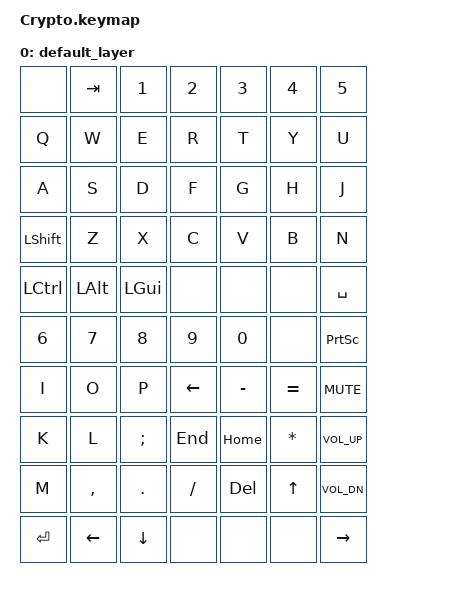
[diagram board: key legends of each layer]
#include <behaviors.dtsi>
#include <dt-bindings/zmk/keys.h>
#include <dt-bindings/zmk/bt.h>

/ {
    keymap {
        compatible = "zmk,keymap";
        default_layer {
            bindings = <
/* --- LEFT SIDE (35 keys) --- */
   &none     &kp TAB   &kp N1    &kp N2    &kp N3    &kp N4    &kp N5    
   &kp Q     &kp W     &kp E     &kp R     &kp T     &kp Y     &kp U     
   &kp A     &kp S     &kp D     &kp F     &kp G     &kp H     &kp J     
   &kp LSHFT &kp Z     &kp X     &kp C     &kp V     &kp B     &kp N     
   &kp LCTRL &kp LALT  &kp LGUI  &none     &none     &none     &kp SPACE 

/* --- RIGHT SIDE (35 keys) --- */
   &kp N6    &kp N7    &kp N8    &kp N9    &kp N0    &none     &kp PSCRN 
   &kp I     &kp O     &kp P     &kp LEFT  &kp MINUS &kp EQUAL &kp C_MUTE 
   &kp K     &kp L     &kp SEMI  &kp END   &kp HOME  &kp ASTRK &kp C_VOL_UP 
   &kp M     &kp COMMA &kp DOT   &kp FSLH  &kp DEL   &kp UP    &kp C_VOL_DN 
   &kp RET   &kp LEFT  &kp DOWN  &none     &none     &none     &kp RIGHT 
            >;
        };
    };
};
